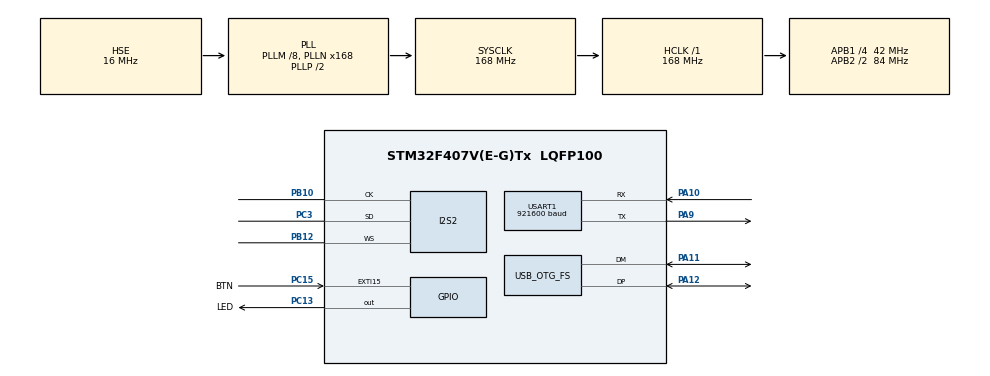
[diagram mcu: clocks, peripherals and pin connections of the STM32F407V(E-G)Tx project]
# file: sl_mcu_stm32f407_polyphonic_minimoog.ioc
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ARM.CMSIS.5.6.0.CMSISJjCORE=true
ARM.CMSIS.5.6.0.CMSISJjDSP=Library
Dma.Request0=SPI2_TX
Dma.SPI2_TX.0.Direction=DMA_MEMORY_TO_PERIPH
Dma.SPI2_TX.0.FIFOMode=DMA_FIFOMODE_DISABLE
Dma.SPI2_TX.0.Instance=DMA1_Stream4
Dma.SPI2_TX.0.MemDataAlignment=DMA_MDATAALIGN_HALFWORD
Dma.SPI2_TX.0.MemInc=DMA_MINC_ENABLE
Dma.SPI2_TX.0.Mode=DMA_CIRCULAR
Dma.SPI2_TX.0.PeriphDataAlignment=DMA_PDATAALIGN_HALFWORD
Dma.SPI2_TX.0.PeriphInc=DMA_PINC_DISABLE
Dma.SPI2_TX.0.Priority=DMA_PRIORITY_LOW
I2S2.AudioFreq=I2S_AUDIOFREQ_48K
I2S2.DataFormat=I2S_DATAFORMAT_16B
I2S2.ErrorAudioFreq=0.0 %
I2S2.FullDuplexMode=I2S_FULLDUPLEXMODE_DISABLE
I2S2.Instance=SPI$Index
I2S2.RealAudioFreq=48.0 KHz
I2S2.VirtualMode=I2S_MODE_MASTER
Mcu.Family=STM32F4
Mcu.Name=STM32F407V(E-G)Tx
Mcu.Package=LQFP100
NVIC.DMA1_Stream4_IRQn=true\:0\:0\:false\:false\:true\:false\:true\:true
NVIC.EXTI15_10_IRQn=true\:0\:0\:false\:false\:true\:true\:true\:true
NVIC.OTG_FS_IRQn=true\:0\:0\:false\:false\:true\:true\:true\:true
NVIC.PriorityGroup=NVIC_PRIORITYGROUP_4
PA10.Mode=Asynchronous
PA10.Signal=USART1_RX
PA11.Mode=Device_Only
PA11.Signal=USB_OTG_FS_DM
PA12.Mode=Device_Only
PA12.Signal=USB_OTG_FS_DP
PA13.Mode=Trace_Asynchronous_SW
PA13.Signal=SYS_JTMS-SWDIO
PA14.Mode=Trace_Asynchronous_SW
PA14.Signal=SYS_JTCK-SWCLK
PA9.Mode=Asynchronous
PA9.Signal=USART1_TX
PB10.Mode=Half_Duplex_Master
PB10.Signal=I2S2_CK
PB12.Mode=Half_Duplex_Master
PB12.Signal=I2S2_WS
PB3.Mode=Trace_Asynchronous_SW
PB3.Signal=SYS_JTDO-SWO
PC13-ANTI_TAMP.GPIO_Label=LED
PC13-ANTI_TAMP.GPIO_ModeDefaultOutputPP=GPIO_MODE_OUTPUT_OD
PC13-ANTI_TAMP.GPIO_PuPd=GPIO_NOPULL
PC13-ANTI_TAMP.PinState=GPIO_PIN_SET
PC13-ANTI_TAMP.Signal=GPIO_Output
PC15-OSC32_OUT.GPIO_Label=BTN
PC15-OSC32_OUT.GPIO_ModeDefaultEXTI=GPIO_MODE_IT_FALLING
PC15-OSC32_OUT.Signal=GPXTI15
PC3.Mode=Half_Duplex_Master
PC3.Signal=I2S2_SD
PH0-OSC_IN.Mode=HSE-External-Oscillator
PH0-OSC_IN.Signal=RCC_OSC_IN
PH1-OSC_OUT.Mode=HSE-External-Oscillator
PH1-OSC_OUT.Signal=RCC_OSC_OUT
ProjectManager.HeapSize=0x200
ProjectManager.StackSize=0x400
ProjectManager.TargetToolchain=STM32CubeIDE
RCC.48MHZClocksFreq_Value=48000000
RCC.AHBFreq_Value=168000000
RCC.APB1CLKDivider=RCC_HCLK_DIV4
RCC.APB1Freq_Value=42000000
RCC.APB1TimFreq_Value=84000000
RCC.APB2CLKDivider=RCC_HCLK_DIV2
RCC.APB2Freq_Value=84000000
RCC.APB2TimFreq_Value=168000000
RCC.CortexFreq_Value=168000000
RCC.HCLKFreq_Value=168000000
RCC.HSE_VALUE=16000000
RCC.HSI_VALUE=16000000
RCC.LSE_VALUE=32768
RCC.PLLM=8
RCC.PLLN=168
RCC.PLLQ=7
RCC.SYSCLKFreq_VALUE=168000000
RCC.SYSCLKSource=RCC_SYSCLKSOURCE_PLLCLK
RCC.VCOOutputFreq_Value=336000000
TIM6.Period=50- 1
TIM6.Prescaler=35 - 1
TIM6.TIM_MasterOutputTrigger=TIM_TRGO_UPDATE
USART1.BaudRate=921600
USART1.VirtualMode=VM_ASYNC
USB_OTG_FS.VirtualMode=Device_Only
VP_ARM.CMSIS_VS_CMSISJjCORE_5.3.0_5.6.0.Mode=CMSISJjCORE
VP_ARM.CMSIS_VS_CMSISJjDSP_1.7.0_5.6.0.Mode=CMSISJjDSP
VP_TIM6_VS_ClockSourceINT.Mode=Enable_Timer
board=custom

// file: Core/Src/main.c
/* USER CODE BEGIN Header */
/*----------------------------------------------------------------------------
 | @file           : main.c
 | @brief          : USB MIDI Polyphonic Synthesizer (Deferred Processing)
 |----------------------------------------------------------------------------
 | @attention
 |
 | Copyright (c) 2026 STM32World
 | All rights reserved.
 |
 | This software is licensed under terms that can be found in the LICENSE file
 | in the root directory of this software component.
 | If no LICENSE file comes with this software, it is provided AS-IS.
 |
 |----------------------------------------------------------------------------*/
/* USER CODE END Header */
#include "main.h"

/* USER CODE BEGIN Includes */
#include <stdio.h>
#include "tusb.h"
#include "synth.h"
/* USER CODE END Includes */

/* USER CODE BEGIN PD */

// One synth block per half-buffer (64 frames = ~1.33ms window prevents DMA starvation during USB/UART tasks)
#define I2S_DMA_BUFFER_SAMPLES SYNTH_BLOCK_SIZE

// Stereo (2 channels) * 2 half-buffers (Ping-Pong) * Samples
#define I2S_DMA_BUFFER_SIZE (2 * 2 * I2S_DMA_BUFFER_SAMPLES)

// Print cycles per sample for each synth stage at startup
#define SYNTH_BENCHMARK 1

/* USER CODE END PD */

I2S_HandleTypeDef hi2s2;
DMA_HandleTypeDef hdma_spi2_tx;

TIM_HandleTypeDef htim6;

UART_HandleTypeDef huart1;

PCD_HandleTypeDef hpcd_USB_OTG_FS;

/* USER CODE BEGIN PV */

int16_t i2s_dma_buffer[I2S_DMA_BUFFER_SIZE];
volatile int16_t *dma_buffer_to_fill = NULL; // Deferred buffer processing pointer (volatile for ISR safety)

uint8_t change_wave = 0;

// Audio CPU load statistics (DWT cycle counter)
volatile uint32_t dma_overruns = 0;   // Half-buffers the main loop did not fill in time
uint32_t perf_cycles_sum = 0;
uint32_t perf_cycles_max = 0;
uint32_t perf_blocks = 0;

/* USER CODE END PV */

void SystemClock_Config(void);
static void MX_GPIO_Init(void);
static void MX_DMA_Init(void);
static void MX_USART1_UART_Init(void);
static void MX_TIM6_Init(void);
static void MX_USB_OTG_FS_PCD_Init(void);
static void MX_I2S2_Init(void);

/* USER CODE BEGIN 0 */

uint32_t dwt_cycles(void) {
    return DWT->CYCCNT;
}

/*
 * Non-blocking printf: characters go into a ring buffer that the USART1 TXE
 * interrupt empties, so debug output never stalls audio rendering. When the
 * buffer is full, characters are dropped rather than waiting.
 */
#define UART_TX_BUFFER_SIZE 2048

static volatile uint8_t uart_tx_buffer[UART_TX_BUFFER_SIZE];
static volatile uint16_t uart_tx_head = 0;
static volatile uint16_t uart_tx_tail = 0;

static void uart_put(uint8_t c) {
    uint16_t next = (uart_tx_head + 1) % UART_TX_BUFFER_SIZE;
    if (next == uart_tx_tail)
        return; // Full, drop
    uart_tx_buffer[uart_tx_head] = c;
    uart_tx_head = next;
    SET_BIT(USART1->CR1, USART_CR1_TXEIE);
}

// Called from USART1_IRQHandler (stm32f4xx_it.c)
void uart_tx_irq(void) {
    if ((USART1->SR & USART_SR_TXE) && (USART1->CR1 & USART_CR1_TXEIE)) {
        if (uart_tx_tail != uart_tx_head) {
            USART1->DR = uart_tx_buffer[uart_tx_tail];
            uart_tx_tail = (uart_tx_tail + 1) % UART_TX_BUFFER_SIZE;
        } else {
            CLEAR_BIT(USART1->CR1, USART_CR1_TXEIE);
        }
    }
}

int __io_putchar(int ch) {
    if (ch == '\n')
        uart_put('\r');
    uart_put((uint8_t) ch);
    return ch;
}

/* Deferred ISR Callbacks Correctly dynamic for buffer size */
void HAL_I2S_TxHalfCpltCallback(I2S_HandleTypeDef *hi2s) {
    if (hi2s->Instance == SPI2) {
        if (dma_buffer_to_fill != NULL)
            ++dma_overruns;
        dma_buffer_to_fill = &i2s_dma_buffer[0];
    }
}

void HAL_I2S_TxCpltCallback(I2S_HandleTypeDef *hi2s) {
    if (hi2s->Instance == SPI2) {
        if (dma_buffer_to_fill != NULL)
            ++dma_overruns;
        dma_buffer_to_fill = &i2s_dma_buffer[I2S_DMA_BUFFER_SIZE / 2];
    }
}

void HAL_GPIO_EXTI_Callback(uint16_t GPIO_Pin) {
    if (GPIO_Pin == BTN_Pin) {
        change_wave = 1;
    }
}

/* USER CODE END 0 */

int main(void)
{

  /* MCU Configuration--------------------------------------------------------*/

  /* Reset of all peripherals, Initializes the Flash interface and the Systick. */
  HAL_Init();

  /* Configure the system clock */
  SystemClock_Config();

  /* Initialize all configured peripherals */
  MX_GPIO_Init();
  MX_DMA_Init();
  MX_USART1_UART_Init();
  MX_TIM6_Init();
  MX_USB_OTG_FS_PCD_Init();
  MX_I2S2_Init();
  /* USER CODE BEGIN 2 */

    printf("\n\n\nStarting USB MIDI Synth (Deferred Execution Model)\n");

    // UART TX interrupt for the non-blocking printf
    HAL_NVIC_SetPriority(USART1_IRQn, 6, 0);
    HAL_NVIC_EnableIRQ(USART1_IRQn);

    // Enable USB IRQ for TinyUSB event handling
    HAL_NVIC_SetPriority(OTG_FS_IRQn, 5, 0);
    HAL_NVIC_EnableIRQ(OTG_FS_IRQn);

    // Enable the DWT cycle counter for CPU load measurement
    CoreDebug->DEMCR |= CoreDebug_DEMCR_TRCENA_Msk;
    DWT->CYCCNT = 0;
    DWT->CTRL |= DWT_CTRL_CYCCNTENA_Msk;

    // Cycles available per audio block
    const uint32_t block_budget = SystemCoreClock / SAMPLE_FREQ * SYNTH_BLOCK_SIZE;

    synth_init();
    synth_set_master_volume(0.5f);

#if SYNTH_BENCHMARK
    synth_benchmark(dwt_cycles);
#endif
    synth_init();

    // Start I2S DMA transmission using full buffer size
    HAL_I2S_Transmit_DMA(&hi2s2, (uint16_t*) i2s_dma_buffer, I2S_DMA_BUFFER_SIZE);

    // Initialize TinyUSB Device stack
    tusb_init();

  /* USER CODE END 2 */

  /* Infinite loop */
  /* USER CODE BEGIN WHILE */

    uint32_t now = 0;
    uint32_t loop_cnt = 0;
    uint32_t next_blink = 500;
    uint32_t next_tick = 1000;

    while (1) {

        // Process audio buffer IMMEDIATELY when requested by ISR
        if (dma_buffer_to_fill != NULL) {
            int16_t *buf = (int16_t*) dma_buffer_to_fill;
            dma_buffer_to_fill = NULL; // Clear flag before processing to prevent double-fills

            uint32_t start = DWT->CYCCNT;
            synth_process(buf);
            uint32_t cycles = DWT->CYCCNT - start;

            perf_cycles_sum += cycles;
            if (cycles > perf_cycles_max)
                perf_cycles_max = cycles;
            ++perf_blocks;
        }

        // 2. Handle TinyUSB events
        tud_task();

        // 3. Low priority tasks
        now = uwTick;

        if (change_wave) {
            printf("Ch  1 osc1 wave -> %d\n", synth_next_wave(0));
            change_wave = 0;
        }

        if (now >= next_blink) {
            HAL_GPIO_TogglePin(LED_GPIO_Port, LED_Pin);
            next_blink = now + 500;
        }

        if (now >= next_tick) {
            uint32_t avg = perf_blocks ? perf_cycles_sum / perf_blocks : 0;
            printf("Tick %lu (loop=%lu) voices=%d cpu avg=%lu.%lu%% max=%lu.%lu%% (%lu/%lu cycles) overruns=%lu\n",
                    now / 1000, loop_cnt, synth_active_voices(),
                    avg * 100 / block_budget, (avg * 1000 / block_budget) % 10,
                    perf_cycles_max * 100 / block_budget, (perf_cycles_max * 1000 / block_budget) % 10,
                    perf_cycles_max, block_budget, dma_overruns);
            perf_cycles_sum = perf_cycles_max = perf_blocks = 0;
            loop_cnt = 0;
            next_tick = now + 1000;
        }

        ++loop_cnt;

    /* USER CODE END WHILE */

    }
}

void SystemClock_Config(void)
{
  RCC_OscInitTypeDef RCC_OscInitStruct = {0};
  RCC_ClkInitTypeDef RCC_ClkInitStruct = {0};

  /** Configure the main internal regulator output voltage
  */
  __HAL_RCC_PWR_CLK_ENABLE();
  __HAL_PWR_VOLTAGESCALING_CONFIG(PWR_REGULATOR_VOLTAGE_SCALE1);

  /** Initializes the RCC Oscillators according to the specified parameters
  * in the RCC_OscInitTypeDef structure.
  */
  RCC_OscInitStruct.OscillatorType = RCC_OSCILLATORTYPE_HSE;
  RCC_OscInitStruct.HSEState = RCC_HSE_ON;
  RCC_OscInitStruct.PLL.PLLState = RCC_PLL_ON;
  RCC_OscInitStruct.PLL.PLLSource = RCC_PLLSOURCE_HSE;
  RCC_OscInitStruct.PLL.PLLM = 8;
  RCC_OscInitStruct.PLL.PLLN = 168;
  RCC_OscInitStruct.PLL.PLLP = RCC_PLLP_DIV2;
  RCC_OscInitStruct.PLL.PLLQ = 7;
  if (HAL_RCC_OscConfig(&RCC_OscInitStruct) != HAL_OK)
  {
    Error_Handler();
  }

  /** Initializes the CPU, AHB and APB buses clocks
  */
  RCC_ClkInitStruct.ClockType = RCC_CLOCKTYPE_HCLK|RCC_CLOCKTYPE_SYSCLK
                              |RCC_CLOCKTYPE_PCLK1|RCC_CLOCKTYPE_PCLK2;
  RCC_ClkInitStruct.SYSCLKSource = RCC_SYSCLKSOURCE_PLLCLK;
  RCC_ClkInitStruct.AHBCLKDivider = RCC_SYSCLK_DIV1;
  RCC_ClkInitStruct.APB1CLKDivider = RCC_HCLK_DIV4;
  RCC_ClkInitStruct.APB2CLKDivider = RCC_HCLK_DIV2;

  if (HAL_RCC_ClockConfig(&RCC_ClkInitStruct, FLASH_LATENCY_5) != HAL_OK)
  {
    Error_Handler();
  }
}

static void MX_I2S2_Init(void)
{

  hi2s2.Instance = SPI2;
  hi2s2.Init.Mode = I2S_MODE_MASTER_TX;
  hi2s2.Init.Standard = I2S_STANDARD_PHILIPS;
  hi2s2.Init.DataFormat = I2S_DATAFORMAT_16B;
  hi2s2.Init.MCLKOutput = I2S_MCLKOUTPUT_DISABLE;
  hi2s2.Init.AudioFreq = I2S_AUDIOFREQ_48K;
  hi2s2.Init.CPOL = I2S_CPOL_LOW;
  hi2s2.Init.ClockSource = I2S_CLOCK_PLL;
  hi2s2.Init.FullDuplexMode = I2S_FULLDUPLEXMODE_DISABLE;
  if (HAL_I2S_Init(&hi2s2) != HAL_OK)
  {
    Error_Handler();
  }

}

static void MX_TIM6_Init(void)
{

  TIM_MasterConfigTypeDef sMasterConfig = {0};

  htim6.Instance = TIM6;
  htim6.Init.Prescaler = 35 - 1;
  htim6.Init.CounterMode = TIM_COUNTERMODE_UP;
  htim6.Init.Period = 50- 1;
  htim6.Init.AutoReloadPreload = TIM_AUTORELOAD_PRELOAD_DISABLE;
  if (HAL_TIM_Base_Init(&htim6) != HAL_OK)
  {
    Error_Handler();
  }
  sMasterConfig.MasterOutputTrigger = TIM_TRGO_UPDATE;
  sMasterConfig.MasterSlaveMode = TIM_MASTERSLAVEMODE_DISABLE;
  if (HAL_TIMEx_MasterConfigSynchronization(&htim6, &sMasterConfig) != HAL_OK)
  {
    Error_Handler();
  }

}

static void MX_USART1_UART_Init(void)
{

  huart1.Instance = USART1;
  huart1.Init.BaudRate = 921600;
  huart1.Init.WordLength = UART_WORDLENGTH_8B;
  huart1.Init.StopBits = UART_STOPBITS_1;
  huart1.Init.Parity = UART_PARITY_NONE;
  huart1.Init.Mode = UART_MODE_TX_RX;
  huart1.Init.HwFlowCtl = UART_HWCONTROL_NONE;
  huart1.Init.OverSampling = UART_OVERSAMPLING_16;
  if (HAL_UART_Init(&huart1) != HAL_OK)
  {
    Error_Handler();
  }

}

static void MX_USB_OTG_FS_PCD_Init(void)
{

  hpcd_USB_OTG_FS.Instance = USB_OTG_FS;
  hpcd_USB_OTG_FS.Init.dev_endpoints = 4;
  hpcd_USB_OTG_FS.Init.speed = PCD_SPEED_FULL;
  hpcd_USB_OTG_FS.Init.dma_enable = DISABLE;
  hpcd_USB_OTG_FS.Init.phy_itface = PCD_PHY_EMBEDDED;
  hpcd_USB_OTG_FS.Init.Sof_enable = DISABLE;
  hpcd_USB_OTG_FS.Init.low_power_enable = DISABLE;
  hpcd_USB_OTG_FS.Init.lpm_enable = DISABLE;
  hpcd_USB_OTG_FS.Init.vbus_sensing_enable = DISABLE;
  hpcd_USB_OTG_FS.Init.use_dedicated_ep1 = DISABLE;
  if (HAL_PCD_Init(&hpcd_USB_OTG_FS) != HAL_OK)
  {
    Error_Handler();
  }

}

static void MX_DMA_Init(void)
{

  /* DMA controller clock enable */
  __HAL_RCC_DMA1_CLK_ENABLE();

  /* DMA interrupt init */
  /* DMA1_Stream4_IRQn interrupt configuration */
  HAL_NVIC_SetPriority(DMA1_Stream4_IRQn, 0, 0);
  HAL_NVIC_EnableIRQ(DMA1_Stream4_IRQn);

}

static void MX_GPIO_Init(void)
{
  GPIO_InitTypeDef GPIO_InitStruct = {0};

  /* GPIO Ports Clock Enable */
  __HAL_RCC_GPIOC_CLK_ENABLE();
  __HAL_RCC_GPIOH_CLK_ENABLE();
  __HAL_RCC_GPIOB_CLK_ENABLE();
  __HAL_RCC_GPIOA_CLK_ENABLE();

  /*Configure GPIO pin Output Level */
  HAL_GPIO_WritePin(LED_GPIO_Port, LED_Pin, GPIO_PIN_SET);

  /*Configure GPIO pin : LED_Pin */
  GPIO_InitStruct.Pin = LED_Pin;
  GPIO_InitStruct.Mode = GPIO_MODE_OUTPUT_OD;
  GPIO_InitStruct.Pull = GPIO_NOPULL;
  GPIO_InitStruct.Speed = GPIO_SPEED_FREQ_LOW;
  HAL_GPIO_Init(LED_GPIO_Port, &GPIO_InitStruct);

  /*Configure GPIO pin : BTN_Pin */
  GPIO_InitStruct.Pin = BTN_Pin;
  GPIO_InitStruct.Mode = GPIO_MODE_IT_FALLING;
  GPIO_InitStruct.Pull = GPIO_NOPULL;
  HAL_GPIO_Init(BTN_GPIO_Port, &GPIO_InitStruct);

  /* EXTI interrupt init*/
  HAL_NVIC_SetPriority(BTN_EXTI_IRQn, 0, 0);
  HAL_NVIC_EnableIRQ(BTN_EXTI_IRQn);

}

void Error_Handler(void)
{
    __disable_irq();
    while (1)
    {
    }
}
